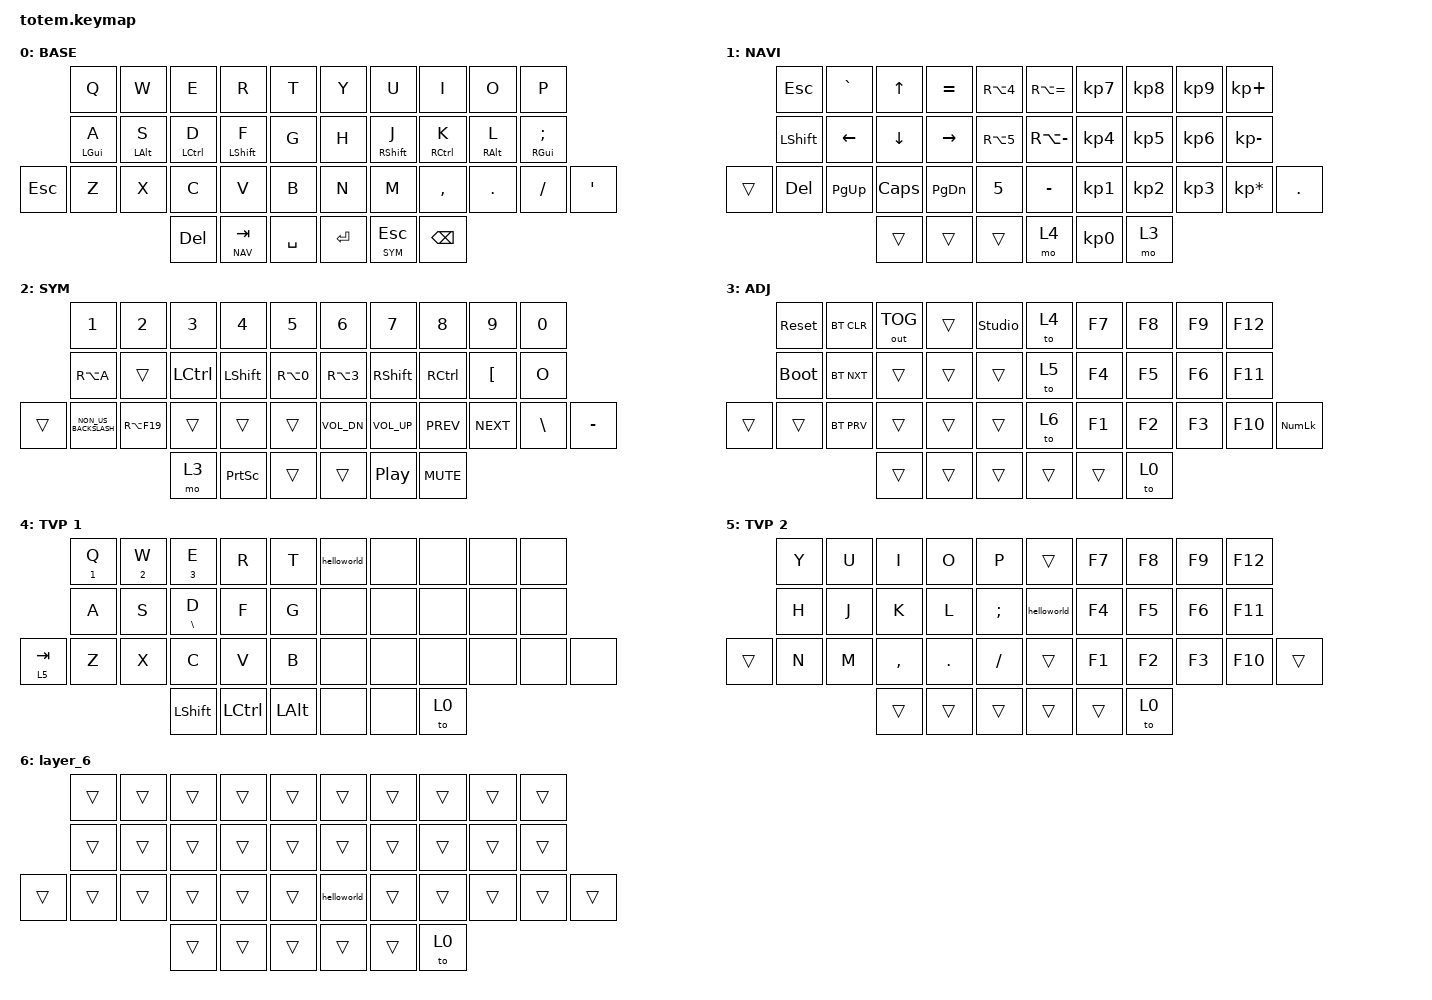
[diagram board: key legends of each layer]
//
//                                                        ▀▀▀▀▀     ▀▀▀▀▀          ▀▀█▀▀
//                                                        ▄▀▀▀▄  ▄  ▄▀▀▀▄  ▄  ▄▀▀▀▄  █  ▄▀▀▀▄
//                                                        █   █  █  █   █  █  █   █  █  █   █
//                                                         ▀▀▀   █   ▀▀▀   █   ▀▀▀   ▀   ▀▀▀
//                                                               █      ▄▄▄█▄▄▄    █   █  
//                                                               ▀      █  █  █     █▄█
//                                                             ▀▀▀▀▀    █  █  █      ▀
//                                                                      ▀  ▀  ▀
//
// ▄▄▄▄▄▄▄▄▄▄▄▄▄▄▄▄▄▄▄▄▄▄▄▄▄▄▄▄▄▄▄▄▄▄▄▄▄▄▄▄▄▄▄▄▄▄▄▄▄▄▄▄▄▄▄▄▄▄▄▄▄▄▄▄▄▄▄▄▄▄▄▄▄▄▄▄▄▄▄▄▄▄▄▄▄▄▄▄▄▄▄▄▄▄▄▄▄▄▄▄▄▄▄▄▄▄▄▄▄▄▄▄▄▄▄▄▄▄▄▄▄▄▄▄▄▄▄▄▄▄▄▄▄▄▄▄▄▄▄▄▄▄▄▄▄▄▄▄▄

#include <behaviors.dtsi>
#include <dt-bindings/zmk/bt.h>
#include <dt-bindings/zmk/keys.h>
#include <dt-bindings/zmk/outputs.h>
#include <dt-bindings/zmk/pointing.h>

#define BASE 0
#define NAV  1
#define SYM  2
#define ADJ  3
#define TVP1 4
#define TVP2 5

&mt {
    quick-tap-ms = <100>;
    global-quick-tap;
    flavor = "tap-preferred";
    tapping-term-ms = <220>;
};

/ {
    combos {
        compatible = "zmk,combos";

        combo_esc {
            timeout-ms = <50>;
            key-positions = <0 1>;
            bindings = <&kp ESC>;
        };

        combo_tvp {
            timeout-ms = <100>;
            key-positions = <11 12 13>;
            bindings = <&tog TVP1>;
        };
    };

    macros {
        gif: gif {
            label = "giphy";
            compatible = "zmk,behavior-macro";
            #binding-cells = <0>;
            bindings =
                <&macro_press>,
                <&kp LSHFT>,
                <&macro_tap>,
                <&kp N2>,
                <&macro_release>,
                <&kp LSHFT>,
                <&macro_tap>,
                <&kp G &kp I &kp F>;
        };

        helloworld: helloworld {
            compatible = "zmk,behavior-macro";
            #binding-cells = <0>;
            bindings = <&none &kp H &kp E &kp L &kp L &kp O &kp W &kp O &kp R &kp L &kp D>;
            label = "HELLOWORLD";
        };

        keyTapandmiddleClick: keyTapandmiddleClick {
            compatible = "zmk,behavior-macro";
            #binding-cells = <0>;
            bindings = <&macro_press>, <&mkp MCLK>, <&macro_tap>, <&kp D>;

            label = "KEYTAPANDMIDDLECLICK";
        };
    };

    keymap {
        compatible = "zmk,keymap";

        // ▄▄▄▄▄▄▄▄▄▄▄▄▄▄▄▄▄▄▄▄▄▄▄▄▄▄▄▄▄▄▄▄▄▄▄▄▄▄▄▄▄▄▄▄▄▄▄▄▄▄▄▄▄▄▄▄▄▄▄▄▄▄▄▄▄▄▄▄▄▄▄▄▄▄▄▄▄▄▄▄▄▄▄▄▄▄▄▄▄▄▄▄▄▄▄▄▄▄▄▄▄▄▄▄▄▄▄▄▄▄▄▄▄▄▄▄▄▄▄▄▄▄▄▄▄▄▄▄▄▄▄▄▄▄▄▄▄▄▄▄▄▄▄▄▄▄▄▄▄

        base_layer {
            // ┏━━━━━━━━━━━━━━━━━━━━━━━━━━━━━━━━━━━━━━━┓

            label = "BASE";

            // ┗━━━━━━━━━━━━━━━━━━━━━━━━━━━━━━━━━━━━━━━┛
            //             ┏━━━━━━━━━━━┳━━━━━━━━━━━┳━━━━━━━━━━━┳━━━━━━━━━━━┳━━━━━━━━━━━┓   ┏━━━━━━━━━━━┳━━━━━━━━━━━┳━━━━━━━━━━━┳━━━━━━━━━━━┳━━━━━━━━━━━┓
            //             ┃     Q     ┃     W     ┃     F     ┃     P     ┃     G     ┃   ┃     J     ┃     L     ┃     U     ┃     Y     ┃     ;     ┃
            //             ┣━━━━━━━━━━━╋━━━━━━━━━━━╋━━━━━━━━━━━╋━━━━━━━━━━━╋━━━━━━━━━━━┫   ┣━━━━━━━━━━━╋━━━━━━━━━━━╋━━━━━━━━━━━╋━━━━━━━━━━━╋━━━━━━━━━━━┫
            //             ┃     A     ┃     R     ┃     S     ┃     T     ┃     D     ┃   ┃     H     ┃     N     ┃     E     ┃     I     ┃     O     ┃
            // ┏━━━━━━━━━━━╋━━━━━━━━━━━╋━━━━━━━━━━━╋━━━━━━━━━━━╋━━━━━━━━━━━╋━━━━━━━━━━━┫   ┣━━━━━━━━━━━╋━━━━━━━━━━━╋━━━━━━━━━━━╋━━━━━━━━━━━╋━━━━━━━━━━━╋━━━━━━━━━━━┓
            // ┃     Q     ┃     Z     ┃     X     ┃     C     ┃     V     ┃     B     ┃   ┃     K     ┃     M     ┃     ,     ┃     .     ┃     /     ┃     \     ┃
            // ┗━━━━━━━━━━━┻━━━━━━━━━━━┻━━━━━━━━━━━╋━━━━━━━━━━━╋━━━━━━━━━━━╋━━━━━━━━━━━┫   ┣━━━━━━━━━━━╋━━━━━━━━━━━╋━━━━━━━━━━━╋━━━━━━━━━━━┻━━━━━━━━━━━┻━━━━━━━━━━━┛
            //                                     ┃    DEL    ┃    TAB    ┃    SPC    ┃   ┃   ENTER   ┃           ┃   BSPC    ┃
            //                                     ┗━━━━━━━━━━━┻━━━━━━━━━━━┻━━━━━━━━━━━┛   ┗━━━━━━━━━━━┻━━━━━━━━━━━┻━━━━━━━━━━━┛

            bindings = <
         &kp Q       &kp W       &kp E        &kp R        &kp T        &kp Y    &kp U        &kp I        &kp O       &kp P
         &mt LGUI A  &mt LALT S  &mt LCTRL D  &mt LSHFT F  &kp G        &kp H    &mt RSHFT J  &mt RCTRL K  &mt RALT L  &mt RGUI SEMICOLON
&kp ESC  &kp Z       &kp X       &kp C        &kp V        &kp B        &kp N    &kp M        &kp COMMA    &kp DOT     &kp FSLH            &kp SQT
                                 &kp DEL      &lt NAV TAB  &kp SPACE    &kp RET  &lt SYM ESC  &kp BSPC
            >;
        };

        // ▄▄▄▄▄▄▄▄▄▄▄▄▄▄▄▄▄▄▄▄▄▄▄▄▄▄▄▄▄▄▄▄▄▄▄▄▄▄▄▄▄▄▄▄▄▄▄▄▄▄▄▄▄▄▄▄▄▄▄▄▄▄▄▄▄▄▄▄▄▄▄▄▄▄▄▄▄▄▄▄▄▄▄▄▄▄▄▄▄▄▄▄▄▄▄▄▄▄▄▄▄▄▄▄▄▄▄▄▄▄▄▄▄▄▄▄▄▄▄▄▄▄▄▄▄▄▄▄▄▄▄▄▄▄▄▄▄▄▄▄▄▄▄▄▄▄▄▄▄

        nav_layer {
            // ┏━━━━━━━━━━━━━━━━━━━━━━━━━━━━━━━━━━━━━━━┓

            label = "NAVI";

            // ┗━━━━━━━━━━━━━━━━━━━━━━━━━━━━━━━━━━━━━━━┛
            //             ┏━━━━━━━━━━━┳━━━━━━━━━━━┳━━━━━━━━━━━┳━━━━━━━━━━━┳━━━━━━━━━━━┓   ┏━━━━━━━━━━━┳━━━━━━━━━━━┳━━━━━━━━━━━┳━━━━━━━━━━━┳━━━━━━━━━━━┓
            //             ┃           ┃           ┃     UP    ┃           ┃     {     ┃   ┃     }     ┃     7     ┃     8     ┃     9     ┃     +     ┃
            //             ┣━━━━━━━━━━━╋━━━━━━━━━━━╋━━━━━━━━━━━╋━━━━━━━━━━━╋━━━━━━━━━━━┫   ┣━━━━━━━━━━━╋━━━━━━━━━━━╋━━━━━━━━━━━╋━━━━━━━━━━━╋━━━━━━━━━━━┫
            //             ┃   SHIFT   ┃   LEFT    ┃    DOWN   ┃   RIGHT   ┃     [     ┃   ┃     ]     ┃     4     ┃     5     ┃     6     ┃     -     ┃
            // ┏━━━━━━━━━━━╋━━━━━━━━━━━╋━━━━━━━━━━━╋━━━━━━━━━━━╋━━━━━━━━━━━╋━━━━━━━━━━━┫   ┣━━━━━━━━━━━╋━━━━━━━━━━━╋━━━━━━━━━━━╋━━━━━━━━━━━╋━━━━━━━━━━━╋━━━━━━━━━━━┓
            // ┃  BT CLR   ┃     DEL   ┃   P UP    ┃  C LOCK   ┃  P DOWN   ┃     (     ┃   ┃     )     ┃     1     ┃     2     ┃     3     ┃     *     ┃  OUT TOG  ┃
            // ┗━━━━━━━━━━━┻━━━━━━━━━━━┻━━━━━━━━━━━╋━━━━━━━━━━━╋━━━━━━━━━━━╋━━━━━━━━━━━┫   ┣━━━━━━━━━━━╋━━━━━━━━━━━╋━━━━━━━━━━━╋━━━━━━━━━━━┻━━━━━━━━━━━┻━━━━━━━━━━━┛
            //                                     ┃           ┃    TAB    ┃    SPC    ┃   ┃    DEL    ┃     0     ┃ STD UNLCK ┃
            //                                     ┗━━━━━━━━━━━┻━━━━━━━━━━━┻━━━━━━━━━━━┛   ┗━━━━━━━━━━━┻━━━━━━━━━━━┻━━━━━━━━━━━┛

            bindings = <
        &kp ESC    &kp GRAVE  &kp UP    &kp EQUAL  &kp RA(NUMBER_4)    &kp RA(EQUAL)  &kp KP_N7  &kp KP_N8  &kp KP_N9  &kp KP_PLUS
        &kp LSHFT  &kp LEFT   &kp DOWN  &kp RIGHT  &kp RA(N5)          &kp RA(MINUS)  &kp KP_N4  &kp KP_N5  &kp KP_N6  &kp KP_MINUS
&trans  &kp DEL    &kp PG_UP  &kp CAPS  &kp PG_DN  &kp N5              &kp MINUS      &kp KP_N1  &kp KP_N2  &kp KP_N3  &kp KP_MULTIPLY  &kp PERIOD
                              &trans    &trans     &trans              &mo 4          &kp KP_N0  &mo 3
            >;
        };

        // ▄▄▄▄▄▄▄▄▄▄▄▄▄▄▄▄▄▄▄▄▄▄▄▄▄▄▄▄▄▄▄▄▄▄▄▄▄▄▄▄▄▄▄▄▄▄▄▄▄▄▄▄▄▄▄▄▄▄▄▄▄▄▄▄▄▄▄▄▄▄▄▄▄▄▄▄▄▄▄▄▄▄▄▄▄▄▄▄▄▄▄▄▄▄▄▄▄▄▄▄▄▄▄▄▄▄▄▄▄▄▄▄▄▄▄▄▄▄▄▄▄▄▄▄▄▄▄▄▄▄▄▄▄▄▄▄▄▄▄▄▄▄▄▄▄▄▄▄▄

        sim_layer {
            // ┏━━━━━━━━━━━━━━━━━━━━━━━━━━━━━━━━━━━━━━━┓

            label = "SYM";

            // ┗━━━━━━━━━━━━━━━━━━━━━━━━━━━━━━━━━━━━━━━┛
            //             ┏━━━━━━━━━━━┳━━━━━━━━━━━┳━━━━━━━━━━━┳━━━━━━━━━━━┳━━━━━━━━━━━┓   ┏━━━━━━━━━━━┳━━━━━━━━━━━┳━━━━━━━━━━━┳━━━━━━━━━━━┳━━━━━━━━━━━┓
            //             ┃     !     ┃     @     ┃     #     ┃     $     ┃     %     ┃   ┃     ˆ     ┃     &     ┃     Ü     ┃     '     ┃     "     ┃
            //             ┣━━━━━━━━━━━╋━━━━━━━━━━━╋━━━━━━━━━━━╋━━━━━━━━━━━╋━━━━━━━━━━━┫   ┣━━━━━━━━━━━╋━━━━━━━━━━━╋━━━━━━━━━━━╋━━━━━━━━━━━╋━━━━━━━━━━━┫
            //             ┃     Ä     ┃           ┃    SZ     ┃           ┃           ┃   ┃   MUTE    ┃   YEN     ┃   EURO    ┃  POUND    ┃     Ö     ┃
            // ┏━━━━━━━━━━━╋━━━━━━━━━━━╋━━━━━━━━━━━╋━━━━━━━━━━━╋━━━━━━━━━━━╋━━━━━━━━━━━┫   ┣━━━━━━━━━━━╋━━━━━━━━━━━╋━━━━━━━━━━━╋━━━━━━━━━━━╋━━━━━━━━━━━╋━━━━━━━━━━━┓
            // ┃           ┃  EMAIL1   ┃  EMAIL2   ┃           ┃           ┃           ┃   ┃   VOL-    ┃   VOL+    ┃   LAST    ┃   NEXT    ┃     \     ┃           ┃
            // ┗━━━━━━━━━━━┻━━━━━━━━━━━┻━━━━━━━━━━━╋━━━━━━━━━━━╋━━━━━━━━━━━╋━━━━━━━━━━━┫   ┣━━━━━━━━━━━╋━━━━━━━━━━━╋━━━━━━━━━━━╋━━━━━━━━━━━┻━━━━━━━━━━━┻━━━━━━━━━━━┛
            //                                     ┃           ┃    GIF    ┃    ADJ    ┃   ┃           ┃           ┃           ┃
            //                                     ┗━━━━━━━━━━━┻━━━━━━━━━━━┻━━━━━━━━━━━┛   ┗━━━━━━━━━━━┻━━━━━━━━━━━┻━━━━━━━━━━━┛

            bindings = <
        &kp NUMBER_1          &kp NUMBER_2  &kp NUMBER_3  &kp NUMBER_4     &kp NUMBER_5    &kp NUMBER_6      &kp N7           &kp N8      &kp N9            &kp N0
        &kp RA(A)             &trans        &kp LCTRL     &kp LEFT_SHIFT   &kp RA(N0)      &kp RA(NUMBER_3)  &kp RIGHT_SHIFT  &kp RCTRL   &kp LEFT_BRACKET  &kp O
&trans  &kp NON_US_BACKSLASH  &kp RA(F19)   &trans        &trans           &trans          &kp C_VOL_DN      &kp C_VOL_UP     &kp C_PREV  &kp C_NEXT        &kp BSLH  &kp MINUS
                                            &mo 3         &kp PRINTSCREEN  &trans          &trans            &kp C_PP         &kp C_MUTE
            >;
        };

        // ▄▄▄▄▄▄▄▄▄▄▄▄▄▄▄▄▄▄▄▄▄▄▄▄▄▄▄▄▄▄▄▄▄▄▄▄▄▄▄▄▄▄▄▄▄▄▄▄▄▄▄▄▄▄▄▄▄▄▄▄▄▄▄▄▄▄▄▄▄▄▄▄▄▄▄▄▄▄▄▄▄▄▄▄▄▄▄▄▄▄▄▄▄▄▄▄▄▄▄▄▄▄▄▄▄▄▄▄▄▄▄▄▄▄▄▄▄▄▄▄▄▄▄▄▄▄▄▄▄▄▄▄▄▄▄▄▄▄▄▄▄▄▄▄▄▄▄▄▄

        adjust_layer {
            // ┏━━━━━━━━━━━━━━━━━━━━━━━━━━━━━━━━━━━━━━━┓

            label = "ADJ";

            // ┗━━━━━━━━━━━━━━━━━━━━━━━━━━━━━━━━━━━━━━━┛
            //             ┏━━━━━━━━━━━┳━━━━━━━━━━━┳━━━━━━━━━━━┳━━━━━━━━━━━┳━━━━━━━━━━━┓   ┏━━━━━━━━━━━┳━━━━━━━━━━━┳━━━━━━━━━━━┳━━━━━━━━━━━┳━━━━━━━━━━━┓
            //             ┃   RESET   ┃ BT CLEAR  ┃  OUT TOG  ┃           ┃           ┃   ┃           ┃    F7     ┃    F8     ┃    F9     ┃    F12    ┃
            //             ┣━━━━━━━━━━━╋━━━━━━━━━━━╋━━━━━━━━━━━╋━━━━━━━━━━━╋━━━━━━━━━━━┫   ┣━━━━━━━━━━━╋━━━━━━━━━━━╋━━━━━━━━━━━╋━━━━━━━━━━━╋━━━━━━━━━━━┫
            //             ┃ BOOTLOAD  ┃ BT NEXT   ┃           ┃           ┃           ┃   ┃           ┃    F4     ┃    F5     ┃    F6     ┃    F11    ┃
            // ┏━━━━━━━━━━━╋━━━━━━━━━━━╋━━━━━━━━━━━╋━━━━━━━━━━━╋━━━━━━━━━━━╋━━━━━━━━━━━┫   ┣━━━━━━━━━━━╋━━━━━━━━━━━╋━━━━━━━━━━━╋━━━━━━━━━━━╋━━━━━━━━━━━╋━━━━━━━━━━━┓
            // ┃           ┃           ┃ BT PREV   ┃           ┃           ┃           ┃   ┃           ┃    F1     ┃    F2     ┃    F3     ┃    F10    ┃           ┃
            // ┗━━━━━━━━━━━┻━━━━━━━━━━━┻━━━━━━━━━━━╋━━━━━━━━━━━╋━━━━━━━━━━━╋━━━━━━━━━━━┫   ┣━━━━━━━━━━━╋━━━━━━━━━━━╋━━━━━━━━━━━╋━━━━━━━━━━━┻━━━━━━━━━━━┻━━━━━━━━━━━┛
            //                                     ┃           ┃           ┃           ┃   ┃           ┃           ┃           ┃
            //                                     ┗━━━━━━━━━━━┻━━━━━━━━━━━┻━━━━━━━━━━━┛   ┗━━━━━━━━━━━┻━━━━━━━━━━━┻━━━━━━━━━━━┛

            bindings = <
        &sys_reset   &bt BT_CLR  &out OUT_TOG  &trans  &studio_unlock    &to 4   &kp F7  &kp F8  &kp F9  &kp F12
        &bootloader  &bt BT_NXT  &trans        &trans  &trans            &to 5   &kp F4  &kp F5  &kp F6  &kp F11
&trans  &trans       &bt BT_PRV  &trans        &trans  &trans            &to 6   &kp F1  &kp F2  &kp F3  &kp F10  &kp KP_NUM
                                 &trans        &trans  &trans            &trans  &trans  &to 0
            >;
        };

        // ▄▄▄▄▄▄▄▄▄▄▄▄▄▄▄▄▄▄▄▄▄▄▄▄▄▄▄▄▄▄▄▄▄▄▄▄▄▄▄▄▄▄▄▄▄▄▄▄▄▄▄▄▄▄▄▄▄▄▄▄▄▄▄▄▄▄▄▄▄▄▄▄▄▄▄▄▄▄▄▄▄▄▄▄▄▄▄▄▄▄▄▄▄▄▄▄▄▄▄▄▄▄▄▄▄▄▄▄▄▄▄▄▄▄▄▄▄▄▄▄▄▄▄▄▄▄▄▄▄▄▄▄▄▄▄▄▄▄▄▄▄▄▄▄▄▄▄▄▄

        tvp1_layer {
            // ┏━━━━━━━━━━━━━━━━━━━━━━━━━━━━━━━━━━━━━━━┓

            label = "TVP 1";

            // ┗━━━━━━━━━━━━━━━━━━━━━━━━━━━━━━━━━━━━━━━┛
            //             ┏━━━━━━━━━━━┳━━━━━━━━━━━┳━━━━━━━━━━━┳━━━━━━━━━━━┳━━━━━━━━━━━┓   ┏━━━━━━━━━━━┳━━━━━━━━━━━┳━━━━━━━━━━━┳━━━━━━━━━━━┳━━━━━━━━━━━┓
            //             ┃ NEXT FILE ┃ MARK IN   ┃ ROTATE    ┃ MARK OUT  ┃ SHOW SNAP ┃   ┃           ┃           ┃           ┃           ┃           ┃
            //             ┣━━━━━━━━━━━╋━━━━━━━━━━━╋━━━━━━━━━━━╋━━━━━━━━━━━╋━━━━━━━━━━━┫   ┣━━━━━━━━━━━╋━━━━━━━━━━━╋━━━━━━━━━━━╋━━━━━━━━━━━╋━━━━━━━━━━━┫
            //             ┃ TVP II    ┃ LEFT      ┃ PAN       ┃ RIGHT     ┃ PLAY/FLIP ┃   ┃           ┃           ┃           ┃           ┃           ┃
            // ┏━━━━━━━━━━━╋━━━━━━━━━━━╋━━━━━━━━━━━╋━━━━━━━━━━━╋━━━━━━━━━━━╋━━━━━━━━━━━┫   ┣━━━━━━━━━━━╋━━━━━━━━━━━╋━━━━━━━━━━━╋━━━━━━━━━━━╋━━━━━━━━━━━╋━━━━━━━━━━━┓
            // ┃ FULLSCR   ┃ SHIFT     ┃ COPY      ┃ DELETE    ┃ PASTE     ┃ IMG MARK  ┃   ┃           ┃           ┃           ┃           ┃           ┃           ┃
            // ┗━━━━━━━━━━━┻━━━━━━━━━━━┻━━━━━━━━━━━╋━━━━━━━━━━━╋━━━━━━━━━━━╋━━━━━━━━━━━┫   ┣━━━━━━━━━━━╋━━━━━━━━━━━╋━━━━━━━━━━━╋━━━━━━━━━━━┻━━━━━━━━━━━┻━━━━━━━━━━━┛
            //                                     ┃           ┃ UNDO/SAVE ┃  SEL/MOV  ┃   ┃           ┃           ┃           ┃
            //                                     ┗━━━━━━━━━━━┻━━━━━━━━━━━┻━━━━━━━━━━━┛   ┗━━━━━━━━━━━┻━━━━━━━━━━━┻━━━━━━━━━━━┛

            bindings = <
           &mt NUMBER_1 Q  &mt NUMBER_2 W  &mt NUMBER_3 E   &kp R             &kp T           &helloworld  &none  &none  &none  &none
           &kp A           &kp S           &mt BACKSLASH D  &kp F             &kp G           &none        &none  &none  &none  &none
&lt 5 TAB  &kp Z           &kp X           &kp C            &kp V             &kp B           &none        &none  &none  &none  &none  &none
                                           &kp LEFT_SHIFT   &kp LEFT_CONTROL  &kp LEFT_ALT    &none        &none  &to 0
            >;
        };

        // ▄▄▄▄▄▄▄▄▄▄▄▄▄▄▄▄▄▄▄▄▄▄▄▄▄▄▄▄▄▄▄▄▄▄▄▄▄▄▄▄▄▄▄▄▄▄▄▄▄▄▄▄▄▄▄▄▄▄▄▄▄▄▄▄▄▄▄▄▄▄▄▄▄▄▄▄▄▄▄▄▄▄▄▄▄▄▄▄▄▄▄▄▄▄▄▄▄▄▄▄▄▄▄▄▄▄▄▄▄▄▄▄▄▄▄▄▄▄▄▄▄▄▄▄▄▄▄▄▄▄▄▄▄▄▄▄▄▄▄▄▄▄▄▄▄▄▄▄▄

        tvp2_layer {
            // ┏━━━━━━━━━━━━━━━━━━━━━━━━━━━━━━━━━━━━━━━┓

            label = "TVP 2";

            // ┗━━━━━━━━━━━━━━━━━━━━━━━━━━━━━━━━━━━━━━━┛
            //             ┏━━━━━━━━━━━┳━━━━━━━━━━━┳━━━━━━━━━━━┳━━━━━━━━━━━┳━━━━━━━━━━━┓   ┏━━━━━━━━━━━┳━━━━━━━━━━━┳━━━━━━━━━━━┳━━━━━━━━━━━┳━━━━━━━━━━━┓
            //             ┃ SOLO      ┃ TOGGLE IN ┃ RESET ROT ┃ TOGGLE OUT┃ TAKE SNAP ┃   ┃           ┃           ┃           ┃           ┃           ┃
            //             ┣━━━━━━━━━━━╋━━━━━━━━━━━╋━━━━━━━━━━━╋━━━━━━━━━━━╋━━━━━━━━━━━┫   ┣━━━━━━━━━━━╋━━━━━━━━━━━╋━━━━━━━━━━━╋━━━━━━━━━━━╋━━━━━━━━━━━┫
            //             ┃ ---       ┃ LAST KEY  ┃ NEW KEY   ┃ NEXT KEY  ┃ ENTER     ┃   ┃           ┃           ┃           ┃           ┃           ┃
            // ┏━━━━━━━━━━━╋━━━━━━━━━━━╋━━━━━━━━━━━╋━━━━━━━━━━━╋━━━━━━━━━━━╋━━━━━━━━━━━┫   ┣━━━━━━━━━━━╋━━━━━━━━━━━╋━━━━━━━━━━━╋━━━━━━━━━━━╋━━━━━━━━━━━╋━━━━━━━━━━━┓
            // ┃           ┃ FULLSCR   ┃ CPY2BRUSH ┃ DEL HEAD  ┃ PSTinPLACE┃ BOOK MARK ┃   ┃           ┃           ┃           ┃           ┃           ┃           ┃
            // ┗━━━━━━━━━━━┻━━━━━━━━━━━┻━━━━━━━━━━━╋━━━━━━━━━━━╋━━━━━━━━━━━╋━━━━━━━━━━━┫   ┣━━━━━━━━━━━╋━━━━━━━━━━━╋━━━━━━━━━━━╋━━━━━━━━━━━┻━━━━━━━━━━━┻━━━━━━━━━━━┛
            //                                     ┃           ┃ REDO/SAV1 ┃TRANS/WARP ┃   ┃           ┃           ┃           ┃
            //                                     ┗━━━━━━━━━━━┻━━━━━━━━━━━┻━━━━━━━━━━━┛   ┗━━━━━━━━━━━┻━━━━━━━━━━━┻━━━━━━━━━━━┛

            bindings = <
        &kp Y  &kp U  &kp I      &kp O       &kp P            &trans       &kp F7  &kp F8  &kp F9  &kp F12
        &kp H  &kp J  &kp K      &kp L       &kp SEMICOLON    &helloworld  &kp F4  &kp F5  &kp F6  &kp F11
&trans  &kp N  &kp M  &kp COMMA  &kp PERIOD  &kp SLASH        &trans       &kp F1  &kp F2  &kp F3  &kp F10  &trans
                      &trans     &trans      &trans           &trans       &trans  &to 0
            >;
        };

        layer_6 {
            bindings = <
        &trans  &trans  &trans  &trans  &trans    &trans       &trans  &trans  &trans  &trans
        &trans  &trans  &trans  &trans  &trans    &trans       &trans  &trans  &trans  &trans
&trans  &trans  &trans  &trans  &trans  &trans    &helloworld  &trans  &trans  &trans  &trans  &trans
                        &trans  &trans  &trans    &trans       &trans  &to 0
            >;
        };
    };
};
